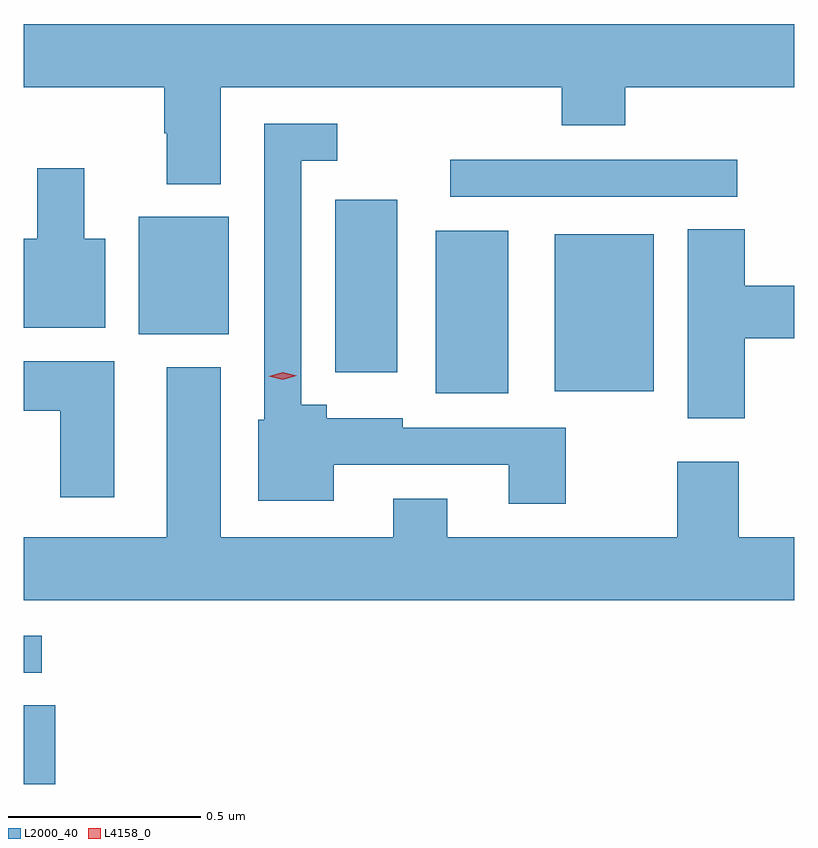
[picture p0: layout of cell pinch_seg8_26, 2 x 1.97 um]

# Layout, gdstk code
import gdstk
lib = gdstk.Library(unit=1e-6, precision=1e-09)
def R(c, l, rs):  # rectangles x0, y0, x1, y1
    for r in rs: c.add(gdstk.rectangle(r[:2], r[2:], *l))
def P(c, l, *ps):  # polygons
    for p in ps: c.add(gdstk.Polygon(p, *l))
L2000_40 = (2000, 40)
L4158_0 = (4158, 0)

pinch_seg8_26 = lib.new_cell('pinch_seg8_26')
R(pinch_seg8_26, L2000_40, [(894.006,1161.311,894.088,1161.515), (894.006,1161.6,894.052,1161.696), (895.076,1162.325,895.264,1162.747), (895.385,1162.331,895.642,1162.738), (894.815,1162.38,894.976,1162.828), (894.305,1162.478,894.538,1162.783), (895.113,1162.836,895.858,1162.932)])
P(pinch_seg8_26, L2000_40, [(894.517,1163.12),(895.403,1163.12),(895.403,1163.021),(895.568,1163.021),(895.568,1163.12),(896.006,1163.12),(896.006,1163.284),(894.006,1163.284),(894.006,1163.12),(894.37,1163.12),(894.37,1163),(894.377,1163),(894.377,1162.868),(894.517,1162.868)],
  [(895.413,1162.236),(894.99,1162.236),(894.99,1162.261),(894.792,1162.261),(894.792,1162.295),(894.726,1162.295),(894.726,1162.929),(894.82,1162.929),(894.82,1163.025),(894.63,1163.025),(894.63,1162.257),(894.614,1162.257),(894.614,1162.046),(894.811,1162.046),(894.811,1162.14),(895.265,1162.14),(895.265,1162.038),(895.413,1162.038)],
  [(894.217,1162.726),(894.163,1162.726),(894.163,1162.909),(894.041,1162.909),(894.041,1162.726),(894.006,1162.726),(894.006,1162.496),(894.217,1162.496)],
  [(895.877,1162.468),(896.006,1162.468),(896.006,1162.604),(895.877,1162.604),(895.877,1162.751),(895.73,1162.751),(895.73,1162.26),(895.877,1162.26)],
  [(894.241,1162.408),(894.006,1162.408),(894.006,1162.28),(894.101,1162.28),(894.101,1162.056),(894.241,1162.056)],
  [(896.006,1161.952),(895.862,1161.952),(895.862,1162.147),(895.702,1162.147),(895.702,1161.952),(895.105,1161.952),(895.105,1162.051),(894.965,1162.051),(894.965,1161.952),(894.517,1161.952),(894.517,1162.393),(894.377,1162.393),(894.377,1161.952),(894.006,1161.952),(894.006,1161.788),(896.006,1161.788)])
P(pinch_seg8_26, L4158_0, [(894.678,1162.36),(894.642,1162.369),(894.642,1162.369),(894.642,1162.369),(894.678,1162.38),(894.714,1162.371),(894.714,1162.371),(894.714,1162.371)])

lib.write_gds('pinch_seg8_26.gds')
